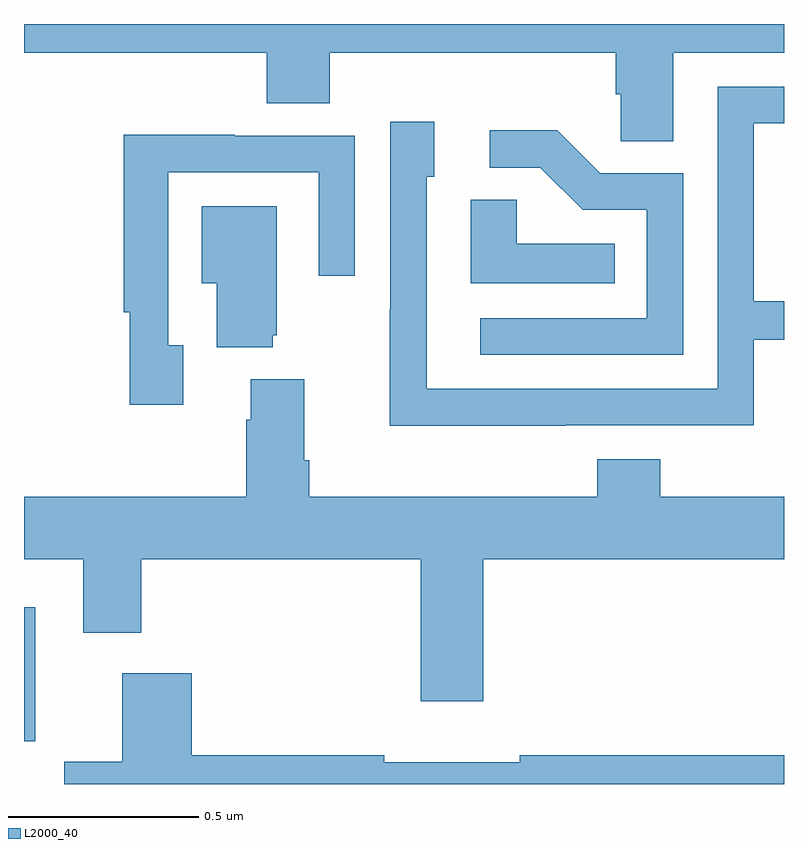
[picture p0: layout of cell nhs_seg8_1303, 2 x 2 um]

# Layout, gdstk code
import gdstk
lib = gdstk.Library(unit=1e-6, precision=1e-09)
def R(c, l, rs):  # rectangles x0, y0, x1, y1
    for r in rs: c.add(gdstk.rectangle(r[:2], r[2:], *l))
def P(c, l, *ps):  # polygons
    for p in ps: c.add(gdstk.Polygon(p, *l))
L2000_40 = (2000, 40)

nhs_seg8_1303 = lib.new_cell('nhs_seg8_1303')
R(nhs_seg8_1303, L2000_40, [(128,1124.012,128.029,1124.365)])
P(nhs_seg8_1303, L2000_40, [(129.709,1125.824),(130,1125.824),(130,1125.9),(128,1125.9),(128,1125.824),(128.639,1125.824),(128.639,1125.691),(128.804,1125.691),(128.804,1125.824),(129.557,1125.824),(129.557,1125.715),(129.57,1125.715),(129.57,1125.592),(129.709,1125.592)],
  [(129.425,1124.844),(129.921,1124.844),(129.921,1125.069),(130,1125.069),(130,1125.17),(129.921,1125.17),(129.921,1125.639),(130,1125.639),(130,1125.735),(129.825,1125.735),(129.825,1124.94),(129.06,1124.94),(129.06,1125.498),(129.079,1125.498),(129.079,1125.643),(128.964,1125.643),(128.964,1125.149),(128.962,1125.149),(128.962,1124.843),(129.425,1124.843)],
  [(129.735,1125.507),(129.516,1125.507),(129.403,1125.62),(129.225,1125.62),(129.225,1125.522),(129.359,1125.522),(129.47,1125.411),(129.639,1125.411),(129.639,1125.126),(129.201,1125.126),(129.201,1125.03),(129.735,1125.03)],
  [(128.419,1125.054),(128.379,1125.054),(128.379,1125.51),(128.775,1125.51),(128.775,1125.237),(128.871,1125.237),(128.871,1125.606),(128.555,1125.606),(128.555,1125.608),(128.263,1125.608),(128.263,1125.142),(128.278,1125.142),(128.278,1124.898),(128.419,1124.898)],
  [(129.554,1125.322),(129.297,1125.322),(129.297,1125.437),(129.176,1125.437),(129.176,1125.218),(129.554,1125.218)],
  [(128.654,1125.081),(128.665,1125.081),(128.665,1125.421),(128.468,1125.421),(128.468,1125.218),(128.507,1125.218),(128.507,1125.05),(128.654,1125.05)],
  [(129.208,1124.492),(130,1124.492),(130,1124.656),(129.674,1124.656),(129.674,1124.755),(129.509,1124.755),(129.509,1124.656),(128.75,1124.656),(128.75,1124.752),(128.737,1124.752),(128.737,1124.965),(128.597,1124.965),(128.597,1124.858),(128.585,1124.858),(128.585,1124.656),(128,1124.656),(128,1124.492),(128.156,1124.492),(128.156,1124.298),(128.309,1124.298),(128.309,1124.492),(129.044,1124.492),(129.044,1124.118),(129.208,1124.118)],
  [(130,1123.976),(129.304,1123.976),(129.304,1123.957),(128.948,1123.957),(128.948,1123.976),(128.441,1123.976),(128.441,1124.191),(128.258,1124.191),(128.258,1123.959),(128.106,1123.959),(128.106,1123.9),(130,1123.9)])

lib.write_gds('nhs_seg8_1303.gds')
